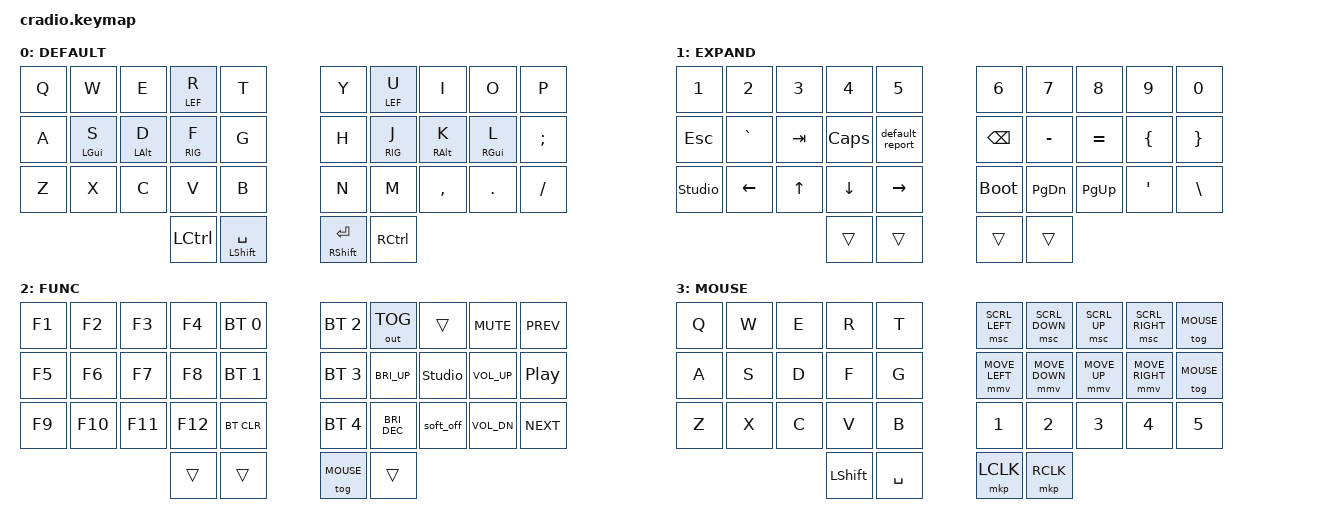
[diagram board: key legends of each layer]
// Copyright (c) 2022 The ZMK Contributors
// SPDX-License-Identifier: MIT

#define ZMK_POINTING_DEFAULT_MOVE_VAL 2500  // 600
#define ZMK_POINTING_DEFAULT_SCRL_VAL 20    // 10

#include <behaviors.dtsi>
#include "behaviors/character_map.dtsi"
#include "behaviors/send_string.dtsi"
#include "behaviors/report.dtsi"
#include <dt-bindings/zmk/bt.h>
#include <dt-bindings/zmk/keys.h>
#include <dt-bindings/zmk/outputs.h>
#include <dt-bindings/zmk/pointing.h>

#define MAC 0
#define RIG 1
#define LEF 2
#define MOUSE 3


// https://zmk.dev/docs/development/hardware-integration/soft-off-setup?advanced-methods=wakeup&kscan-type=dkscan
/ {
    keys {
        compatible = "gpio-keys";
        soft_off_gpio_key: soft_off_gpio_key {
            gpios = <&gpio1 6 (GPIO_ACTIVE_LOW | GPIO_PULL_UP)>;
        };
    };
    wakeup_scan: wakeup_scan {
        compatible = "zmk,kscan-gpio-direct";
        input-keys = <&soft_off_gpio_key>;
        wakeup-source;
    };
    side_band_behavior_triggers: side_band_behavior_triggers {
        compatible = "zmk,kscan-sideband-behaviors";
        kscan = <&wakeup_scan>;
        auto-enable;
        wakeup-source;
    };
    soft_off_wakers {
        compatible = "zmk,soft-off-wakeup-sources";
        wakeup-sources = <&wakeup_scan>;
    };
};

/ {
    vbatt: vbatt {
        compatible = "zmk,battery-nrf-vddh";
    };
    chosen {
        zmk,charmap = &charmap_us;
        zmk,battery = &vbatt;
    };
    behaviors {
        ht: hold_tap {
            display-name = "hold_tap";
            compatible = "zmk,behavior-hold-tap";
            #binding-cells = <2>;
            flavor = "balanced";
            tapping-term-ms = <200>;
            quick-tap-ms = <150>;
            bindings = <&kp>, <&kp>;
        };
        lt: layer_tap {
            display-name = "layer_tap";
            compatible = "zmk,behavior-hold-tap";
            #binding-cells = <2>;
            flavor = "balanced";
            tapping-term-ms = <200>;
            quick-tap-ms = <150>;
            bindings = <&mo>, <&kp>;
        };
	mmv {
            acceleration-exponent = <1>;      // 1
            time-to-max-speed-ms = <50>;      // 40
            delay-ms = <0>;                   // 0
        };
        msc {
            acceleration-exponent = <0>;      // 0
            time-to-max-speed-ms = <50>;      // 500
            delay-ms = <0>;                   // 10
        };
    };

    keymap {
        compatible = "zmk,keymap";

        default_layer {
            display-name = "DEFAULT";
            bindings = <
            &kp Q  &kp W       &kp E       &lt LEF R  &kp T    &kp Y  &lt LEF U  &kp I       &kp O       &kp P
            &kp A  &ht LGUI S  &ht LALT D  &lt RIG F  &kp G    &kp H  &lt RIG J  &ht RALT K  &ht RGUI L  &kp SEMI
            &kp Z  &kp X       &kp C       &kp V      &kp B    &kp N  &kp M      &kp COMMA   &kp DOT     &kp FSLH
            &kp LCTRL  &ht LSHIFT SPACE                        &ht RSHIFT ENTER  &kp RCTRL
            >;
        };

        right_layer {
            display-name = "EXPAND";
            bindings = <
            &kp N1          &kp N2     &kp N3   &kp N4    &kp N5             &kp N6       &kp N7     &kp N8     &kp N9    &kp N0
            &kp ESC         &kp GRAVE  &kp TAB  &kp CAPS  &default_report    &kp BSPC     &kp MINUS  &kp EQUAL  &kp LBRC  &kp RBRC
            &studio_unlock  &kp LEFT   &kp UP   &kp DOWN  &kp RIGHT          &bootloader  &kp PG_DN  &kp PG_UP  &kp SQT   &kp BSLH
            &trans   &trans                                                  &trans  &trans
            >;
        };

        left_layer {
            display-name = "FUNC";
            bindings = <
            &kp F1  &kp F2   &kp F3   &kp F4   &bt BT_SEL 0    &bt BT_SEL 2  &out OUT_TOG   &trans          &kp C_MUTE    &kp C_PREV
            &kp F5  &kp F6   &kp F7   &kp F8   &bt BT_SEL 1    &bt BT_SEL 3  &kp C_BRI_UP   &studio_unlock  &kp C_VOL_UP  &kp C_PP
            &kp F9  &kp F10  &kp F11  &kp F12  &bt BT_CLR      &bt BT_SEL 4  &kp C_BRI_DEC  &soft_off       &kp C_VOL_DN  &kp C_NEXT
            &trans   &trans                                    &tog MOUSE  &trans
            >;
        };

        mouse {
            display-name = "MOUSE";
            bindings = <
            &kp Q  &kp W  &kp E  &kp R  &kp T    &msc SCRL_LEFT  &msc SCRL_DOWN  &msc SCRL_UP  &msc SCRL_RIGHT  &tog MOUSE
            &kp A  &kp S  &kp D  &kp F  &kp G    &mmv MOVE_LEFT  &mmv MOVE_DOWN  &mmv MOVE_UP  &mmv MOVE_RIGHT  &tog MOUSE
            &kp Z  &kp X  &kp C  &kp V  &kp B    &kp N1          &kp N2          &kp N3        &kp N4           &kp N5
            &kp LSHIFT  &kp SPACE                &mkp LCLK  &mkp RCLK
            >;
        };
    };
};
